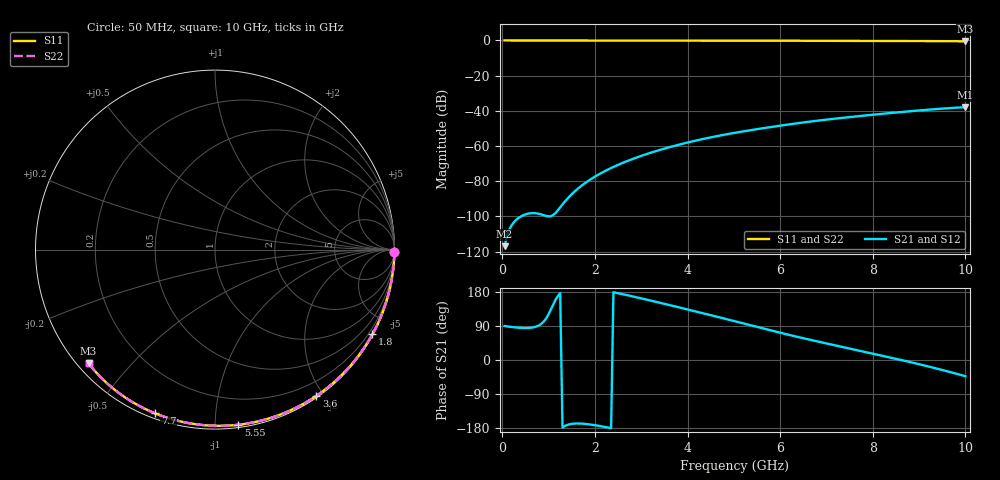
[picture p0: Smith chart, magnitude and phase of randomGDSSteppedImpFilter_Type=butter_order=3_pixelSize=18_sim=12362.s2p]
! freq	dB(S11)	phase(S11)	dB(S12)	phase(S12)
!  dB(S21)	phase(S21)	dB(S22)	phase(S22)
!S-par simulation data
#  GHz  S  DB  R 50
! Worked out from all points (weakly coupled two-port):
!   200 points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, 50 MHz to 10 GHz, reference 50 ohm
!   highest |S21| = -37.90 dB at 10 GHz (marker M1); lowest = -116.9 dB at 50 MHz (marker M2)
!   lowest |S11| = -0.5 dB at 10 GHz (marker M3), VSWR 37.36, Z = 1.54 - j19.2 ohm
!   |S11| at or under -10 dB: nowhere
!   |S22| runs from -0.5 to 0.0 dB; largest |S21 - S12| = 0
!   S11 on the Smith chart (normalised r, x): 50 MHz: open; 1.8 GHz: 0.03, -3.97; 3.6 GHz: 0.02, -1.91; 5.55 GHz: 0.02, -1.14; 7.7 GHz: 0.02, -0.70; 10 GHz: 0.03, -0.38
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0.05  -0.00 -0.8  -116.87 89.8  -116.87 89.8  -0.00 -0.8
0.45  -0.01 -7.2  -99.31 84.4  -99.31 84.4  -0.01 -7.2
0.9  -0.02 -14.3  -99.31 102.0  -99.31 102.0  -0.02 -14.3
1.75  -0.04 -27.5  -81.75 -168.2  -81.75 -168.2  -0.04 -27.5
1.8  -0.04 -28.3  -80.79 -168.8  -80.79 -168.8  -0.04 -28.3
1.85  -0.04 -29.1  -79.88 -169.4  -79.88 -169.4  -0.04 -29.1
2  -0.04 -31.4  -77.37 -172.0  -77.37 -172.0  -0.04 -31.4
2.15  -0.04 -33.7  -75.12 -175.2  -75.12 -175.2  -0.04 -33.7
2.35  -0.05 -36.7  -72.46 -179.9  -72.46 -179.9  -0.05 -36.7
2.55  -0.05 -39.7  -70.10 175.0  -70.10 175.0  -0.05 -39.7
2.95  -0.06 -45.7  -66.03 164.0  -66.03 164.0  -0.06 -45.7
3.4  -0.07 -52.4  -62.21 151.2  -62.21 151.2  -0.07 -52.4
3.6  -0.07 -55.3  -60.70 145.3  -60.70 145.3  -0.07 -55.3
4.3  -0.09 -65.3  -56.18 124.4  -56.18 124.4  -0.09 -65.3
5.05  -0.12 -75.7  -52.34 101.5  -52.34 101.5  -0.12 -75.7
5.55  -0.14 -82.5  -50.19 85.9  -50.19 85.9  -0.14 -82.5
6.1  -0.16 -89.7  -48.03 69.0  -48.03 69.0  -0.16 -89.7
6.7  -0.19 -97.5  -45.92 51.9  -45.92 51.9  -0.19 -97.5
7.7  -0.25 -110.1  -42.99 25.0  -42.99 25.0  -0.25 -110.1
8.35  -0.30 -118.1  -41.31 7.5  -41.31 7.5  -0.30 -118.1
9.2  -0.37 -128.4  -39.33 -17.0  -39.33 -17.0  -0.37 -128.4
10  -0.47 -138.0  -37.90 -42.8  -37.90 -42.8  -0.47 -138.0
